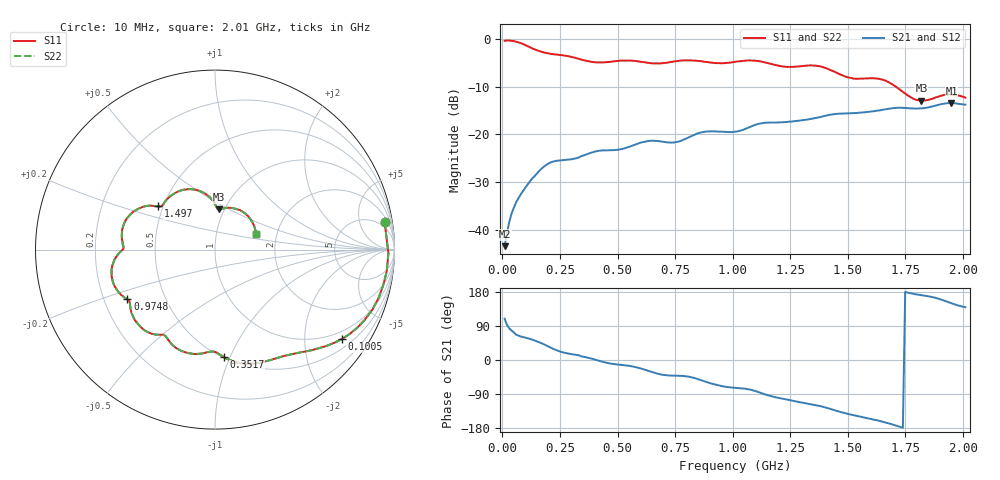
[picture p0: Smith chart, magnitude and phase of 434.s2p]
# MHz S MA R 50
!  freq  S11  S21  S12  S22
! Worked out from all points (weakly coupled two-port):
!   200 points, 10 MHz to 2.01 GHz, reference 50 ohm
!   highest |S21| = -13.42 dB at 1.95 GHz (marker M1); lowest = -43.4 dB at 10 MHz (marker M2)
!   lowest |S11| = -12.9 dB at 1.819 GHz (marker M3), VSWR 1.58, Z = 46.9 + j22.2 ohm
!   |S11| at or under -10 dB: 1.708 GHz to end of sweep
!   |S22| runs from -12.9 to -0.3 dB; largest |S21 - S12| = 0.001
!   S11 on the Smith chart (normalised r, x): 10 MHz: 3, +11; 100.5 MHz: 0.75, -2.97; 351.7 MHz: 0.51, -0.95; 974.8 MHz: 0.30, -0.24; 1.497 GHz: 0.47, +0.27; 2.01 GHz: 1.56, +0.28
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10  0.9578 9.3  0.00673 109.0  0.0067 108.6  0.9578 9.3
20.05025  0.9664 -1.3  0.00911 92.9  0.0091 92.7  0.9665 -1.3
40.15075  0.9578 -12.2  0.01477 77.6  0.01473 77.3  0.9578 -12.2
100.4523  0.8644 -35.3  0.02777 58.9  0.02773 58.9  0.8641 -35.3
200.9548  0.7055 -57.3  0.04962 35.3  0.04959 35.4  0.7057 -57.3
281.3568  0.6644 -73.2  0.05408 17.6  0.05406 17.6  0.6637 -73.2
351.7085  0.6012 -85.2  0.06002 8.7  0.06004 8.6  0.6018 -85.2
532.6131  0.5955 -104.7  0.07175 -14.1  0.07179 -13.9  0.5959 -104.7
683.3668  0.555 -121.2  0.08476 -37.6  0.0847 -37.5  0.5552 -121.2
763.7688  0.5903 -128.2  0.08389 -41.6  0.08381 -41.5  0.5899 -128.2
834.1206  0.5949 -138.5  0.09952 -47.6  0.0996 -47.5  0.5947 -138.4
974.8241  0.5616 -150.4  0.1061 -71.2  0.1059 -71.2  0.5614 -150.4
1015.025  0.5778 -153.7  0.1071 -73.6  0.107 -73.6  0.5777 -153.7
1105.477  0.5903 -167.5  0.1278 -83.4  0.1279 -83.4  0.5909 -167.5
1346.683  0.5281 166.0  0.1465 -117.8  0.1465 -117.9  0.5283 165.9
1417.035  0.4818 151.7  0.1598 -127.9  0.1598 -128.0  0.4819 151.5
1497.437  0.3986 142.8  0.1662 -141.9  0.1664 -141.8  0.3987 142.8
1597.94  0.388 131.5  0.1734 -155.6  0.1734 -155.8  0.3881 131.3
1678.342  0.3511 108.2  0.1859 -167.4  0.1861 -167.3  0.3512 108.1
1819.045  0.2252 85.0  0.1877 170.8  0.1873 171.1  0.226 85.7
1949.698  0.2621 44.6  0.2134 149.6  0.2135 149.9  0.2623 44.6
2010  0.2431 20.7  0.2049 139.2  0.2047 139.1  0.243 20.7
